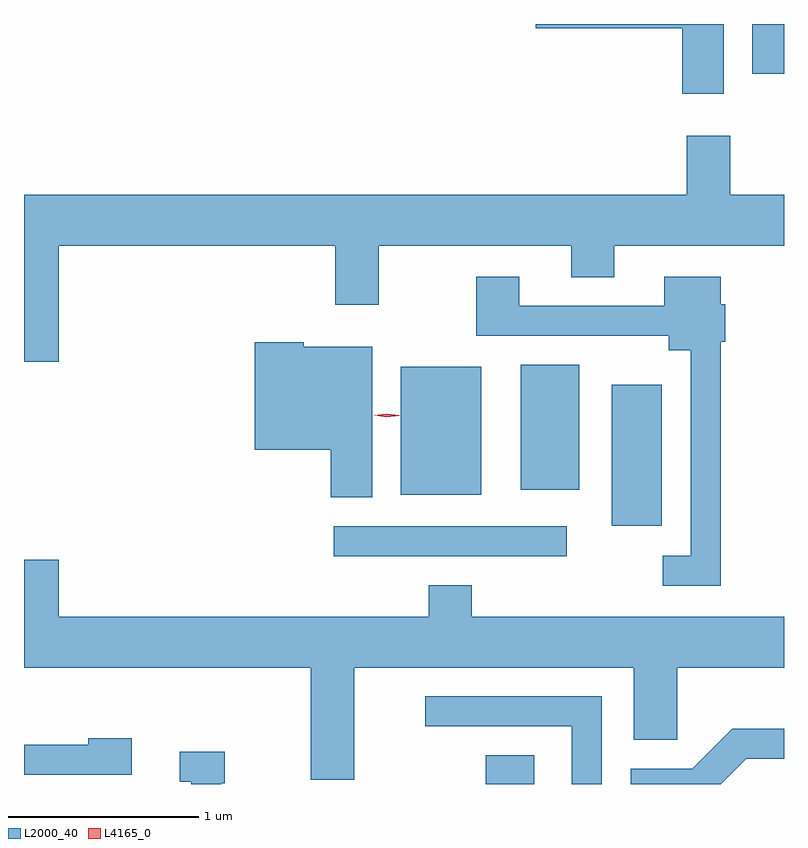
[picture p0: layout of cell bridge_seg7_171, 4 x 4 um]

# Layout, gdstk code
import gdstk
lib = gdstk.Library(unit=1e-6, precision=1e-09)
def R(c, l, rs):  # rectangles x0, y0, x1, y1
    for r in rs: c.add(gdstk.rectangle(r[:2], r[2:], *l))
def P(c, l, *ps):  # polygons
    for p in ps: c.add(gdstk.Polygon(p, *l))
L2000_40 = (2000, 40)
L4165_0 = (4165, 0)

bridge_seg7_171 = lib.new_cell('bridge_seg7_171')
R(bridge_seg7_171, L2000_40, [(1656.151,1724.803,1656.408,1724.954), (1655.353,1726.001,1656.578,1726.159), (1656.816,1726.161,1657.079,1726.904), (1655.706,1726.326,1656.129,1726.999), (1656.336,1726.351,1656.644,1727.009), (1657.556,1728.541,1657.722,1728.803)])
P(bridge_seg7_171, L2000_40, [(1657.404,1728.803),(1656.416,1728.803),(1656.416,1728.781),(1657.186,1728.781),(1657.186,1728.436),(1657.404,1728.436)],
  [(1653.904,1727.636),(1655.361,1727.636),(1655.361,1727.326),(1655.589,1727.326),(1655.589,1727.636),(1656.601,1727.636),(1656.601,1727.471),(1656.829,1727.471),(1656.829,1727.636),(1657.722,1727.636),(1657.722,1727.904),(1657.439,1727.904),(1657.439,1728.214),(1657.211,1728.214),(1657.211,1727.904),(1653.722,1727.904),(1653.722,1727.026),(1653.904,1727.026)],
  [(1657.389,1727.131),(1657.414,1727.131),(1657.414,1727.329),(1657.389,1727.329),(1657.389,1727.474),(1657.091,1727.474),(1657.091,1727.319),(1656.329,1727.319),(1656.329,1727.474),(1656.101,1727.474),(1656.101,1727.161),(1657.116,1727.161),(1657.116,1727.086),(1657.231,1727.086),(1657.231,1726.004),(1657.083,1726.004),(1657.083,1725.846),(1657.389,1725.846)],
  [(1655.554,1727.104),(1655.194,1727.104),(1655.194,1727.129),(1654.936,1727.129),(1654.936,1726.561),(1655.336,1726.561),(1655.336,1726.311),(1655.554,1726.311)],
  [(1655.459,1725.416),(1656.931,1725.416),(1656.931,1725.036),(1657.159,1725.036),(1657.159,1725.416),(1657.722,1725.416),(1657.722,1725.684),(1656.079,1725.684),(1656.079,1725.849),(1655.851,1725.849),(1655.851,1725.684),(1653.904,1725.684),(1653.904,1725.984),(1653.722,1725.984),(1653.722,1725.416),(1655.231,1725.416),(1655.231,1724.826),(1655.459,1724.826)],
  [(1656.764,1725.264),(1655.833,1725.264),(1655.833,1725.106),(1656.606,1725.106),(1656.606,1724.803),(1656.764,1724.803)],
  [(1657.522,1724.936),(1657.722,1724.936),(1657.722,1725.094),(1657.449,1725.094),(1657.239,1724.884),(1656.916,1724.884),(1656.916,1724.803),(1657.389,1724.803)],
  [(1654.289,1725.044),(1654.061,1725.044),(1654.061,1725.009),(1653.722,1725.009),(1653.722,1724.851),(1654.289,1724.851)],
  [(1654.759,1724.806),(1654.779,1724.806),(1654.779,1724.974),(1654.543,1724.974),(1654.543,1724.816),(1654.601,1724.816),(1654.601,1724.803),(1654.759,1724.803)])
P(bridge_seg7_171, L4165_0, [(1655.63,1726.733),(1655.564,1726.743),(1655.564,1726.744),(1655.564,1726.744),(1655.63,1726.753),(1655.696,1726.743),(1655.696,1726.743),(1655.696,1726.742)])

lib.write_gds('bridge_seg7_171.gds')
